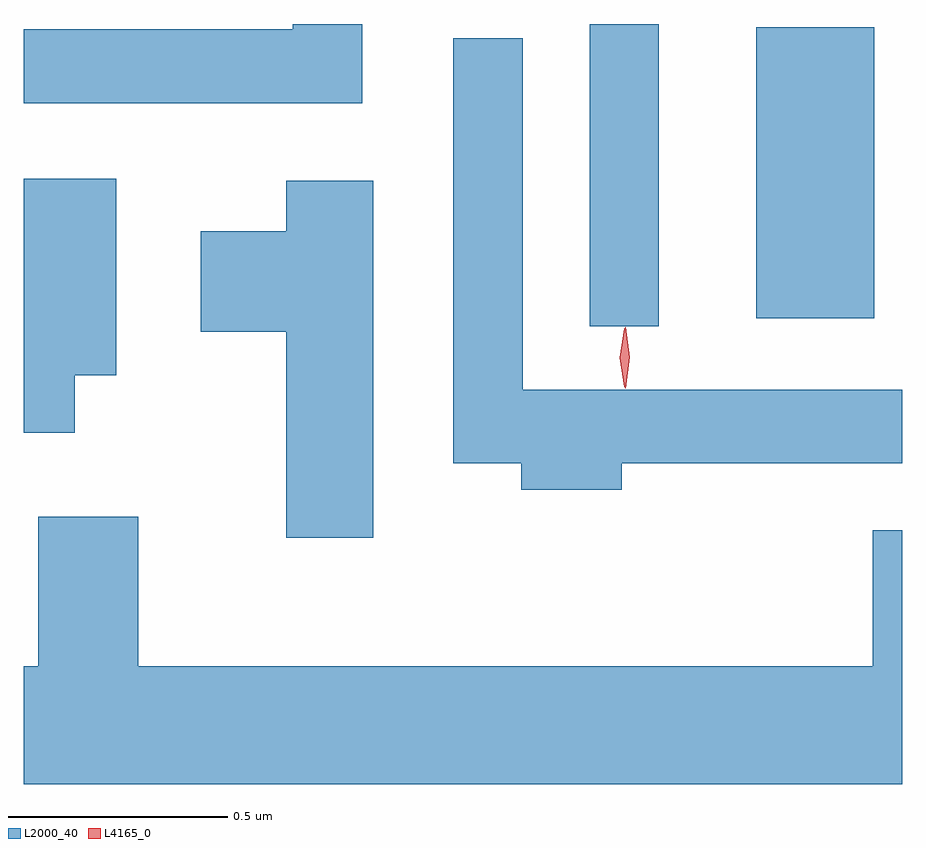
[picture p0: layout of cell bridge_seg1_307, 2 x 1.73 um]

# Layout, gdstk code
import gdstk
lib = gdstk.Library(unit=1e-6, precision=1e-09)
def R(c, l, rs):  # rectangles x0, y0, x1, y1
    for r in rs: c.add(gdstk.rectangle(r[:2], r[2:], *l))
def P(c, l, *ps):  # polygons
    for p in ps: c.add(gdstk.Polygon(p, *l))
L2000_40 = (2000, 40)
L4165_0 = (4165, 0)

bridge_seg1_307 = lib.new_cell('bridge_seg1_307')
R(bridge_seg1_307, L2000_40, [(847.576,873.978,847.734,874.666), (847.956,873.996,848.224,874.659)])
P(bridge_seg1_307, L2000_40, [(847.059,874.666),(846.901,874.666),(846.901,874.654),(846.288,874.654),(846.288,874.486),(847.059,874.486)],
  [(847.649,873.666),(848.288,873.666),(848.288,873.834),(847.424,873.834),(847.424,874.633),(847.266,874.633),(847.266,873.666),(847.421,873.666),(847.421,873.606),(847.649,873.606)],
  [(846.404,873.866),(846.499,873.866),(846.499,874.314),(846.288,874.314),(846.288,873.736),(846.404,873.736)],
  [(847.084,874.309),(846.886,874.309),(846.886,874.194),(846.691,874.194),(846.691,873.966),(846.886,873.966),(846.886,873.496),(847.084,873.496)],
  [(848.288,873.514),(848.221,873.514),(848.221,873.204),(846.549,873.204),(846.549,873.544),(846.321,873.544),(846.321,873.204),(846.288,873.204),(846.288,872.936),(848.288,872.936)])
P(bridge_seg1_307, L4165_0, [(847.657,873.837),(847.648,873.907),(847.657,873.976),(847.658,873.976),(847.658,873.976),(847.668,873.907),(847.658,873.837),(847.658,873.837)],
  [(847.655,873.839),(847.655,873.84),(847.645,873.906),(847.655,873.972),(847.655,873.973),(847.656,873.972),(847.666,873.906),(847.656,873.84)])

lib.write_gds('bridge_seg1_307.gds')
